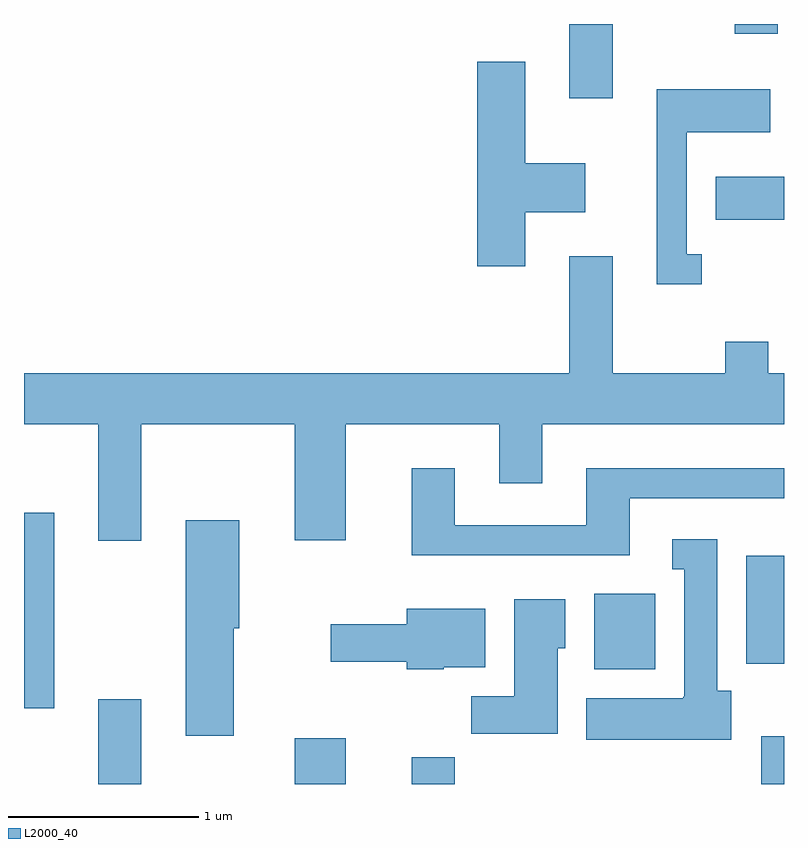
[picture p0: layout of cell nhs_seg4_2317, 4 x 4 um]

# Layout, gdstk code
import gdstk
lib = gdstk.Library(unit=1e-6, precision=1e-09)
def R(c, l, rs):  # rectangles x0, y0, x1, y1
    for r in rs: c.add(gdstk.rectangle(r[:2], r[2:], *l))
def P(c, l, *ps):  # polygons
    for p in ps: c.add(gdstk.Polygon(p, *l))
L2000_40 = (2000, 40)

nhs_seg4_2317 = lib.new_cell('nhs_seg4_2317')
R(nhs_seg4_2317, L2000_40, [(254.001,1263.982,254.229,1264.429), (255.036,1263.982,255.304,1264.224), (255.651,1263.982,255.879,1264.124), (257.491,1263.982,257.611,1264.234), (253.611,1264.381,253.769,1265.409), (256.611,1264.586,256.934,1264.984), (257.411,1264.616,257.611,1265.184), (257.251,1266.951,257.611,1267.179), (256.481,1267.591,256.709,1267.982), (257.351,1267.931,257.579,1267.982)])
P(nhs_seg4_2317, L2000_40, [(256.249,1266.991),(256.564,1266.991),(256.564,1267.249),(256.249,1267.249),(256.249,1267.784),(255.996,1267.784),(255.996,1266.706),(256.249,1266.706)],
  [(257.178,1266.769),(257.099,1266.769),(257.099,1267.411),(257.539,1267.411),(257.539,1267.639),(256.941,1267.639),(256.941,1266.611),(257.178,1266.611)],
  [(254.229,1265.876),(255.036,1265.876),(255.036,1265.266),(255.304,1265.266),(255.304,1265.876),(256.111,1265.876),(256.111,1265.566),(256.339,1265.566),(256.339,1265.876),(257.611,1265.876),(257.611,1266.144),(257.529,1266.144),(257.529,1266.309),(257.301,1266.309),(257.301,1266.144),(256.709,1266.144),(256.709,1266.759),(256.481,1266.759),(256.481,1266.144),(253.611,1266.144),(253.611,1265.876),(254.001,1265.876),(254.001,1265.261),(254.229,1265.261)],
  [(256.799,1265.486),(257.611,1265.486),(257.611,1265.644),(256.571,1265.644),(256.571,1265.344),(255.879,1265.344),(255.879,1265.644),(255.651,1265.644),(255.651,1265.186),(256.799,1265.186)],
  [(254.714,1264.801),(254.744,1264.801),(254.744,1265.369),(254.461,1265.369),(254.461,1264.236),(254.714,1264.236)],
  [(257.334,1264.474),(257.259,1264.474),(257.259,1265.269),(257.022,1265.269),(257.022,1265.111),(257.086,1265.111),(257.086,1264.44),(257.08,1264.44),(257.08,1264.434),(256.571,1264.434),(256.571,1264.216),(257.334,1264.216)],
  [(256.419,1264.696),(256.459,1264.696),(256.459,1264.954),(256.191,1264.954),(256.191,1264.444),(255.966,1264.444),(255.966,1264.246),(256.419,1264.246)],
  [(255.82,1264.596),(256.039,1264.596),(256.039,1264.904),(255.626,1264.904),(255.626,1264.824),(255.226,1264.824),(255.226,1264.626),(255.626,1264.626),(255.626,1264.586),(255.82,1264.586)])

lib.write_gds('nhs_seg4_2317.gds')
